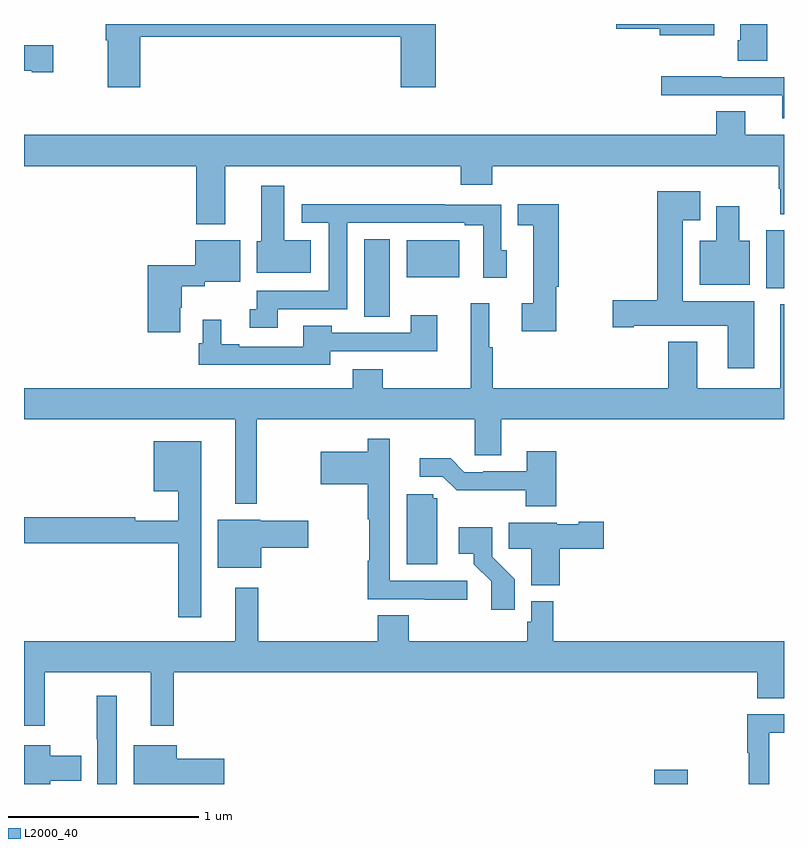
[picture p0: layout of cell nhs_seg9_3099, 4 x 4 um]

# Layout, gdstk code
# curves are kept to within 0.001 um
import gdstk
lib = gdstk.Library(unit=1e-6, precision=1e-09)
def R(c, l, rs):  # rectangles x0, y0, x1, y1
    for r in rs: c.add(gdstk.rectangle(r[:2], r[2:], *l))
def P(c, l, *ps):  # polygons
    for p in ps: c.add(gdstk.Polygon(p, *l))
L2000_40 = (2000, 40)

nhs_seg9_3099 = lib.new_cell('nhs_seg9_3099')
R(nhs_seg9_3099, L2000_40, [(292.316,1194.5,292.494,1194.574), (290.792,1196.959,290.926,1197.368), (292.907,1197.11,293,1197.415), (291.014,1197.167,291.292,1197.361)])
P(nhs_seg9_3099, L2000_40, [(289.613,1198.432),(290.984,1198.432),(290.984,1198.167),(291.167,1198.167),(291.167,1198.5),(289.43,1198.5),(289.43,1198.415),(289.442,1198.415),(289.442,1198.167),(289.613,1198.167)],
  [(292.912,1198.5),(292.769,1198.5),(292.769,1198.414),(292.757,1198.414),(292.757,1198.306),(292.912,1198.306)],
  [(292.633,1198.5),(292.116,1198.5),(292.116,1198.475),(292.346,1198.475),(292.346,1198.442),(292.633,1198.442)],
  [(289.153,1198.388),(289,1198.388),(289,1198.253),(289.04,1198.253),(289.04,1198.246),(289.153,1198.246)],
  [(293,1198.221),(292.673,1198.221),(292.673,1198.224),(292.353,1198.224),(292.353,1198.125),(292.991,1198.125),(292.991,1198.005),(293,1198.005)],
  [(290.059,1197.752),(291.299,1197.752),(291.299,1197.653),(291.464,1197.653),(291.464,1197.752),(292.972,1197.752),(292.972,1197.632),(292.979,1197.632),(292.979,1197.5),(293,1197.5),(293,1197.916),(292.795,1197.916),(292.795,1198.04),(292.643,1198.04),(292.643,1197.916),(289,1197.916),(289,1197.752),(289.907,1197.752),(289.907,1197.447),(290.059,1197.447)],
  [(290.509,1197.361),(290.371,1197.361),(290.371,1197.649),(290.249,1197.649),(290.249,1197.357),(290.225,1197.357),(290.225,1197.191),(290.509,1197.191)],
  [(292.843,1197.04),(292.468,1197.04),(292.468,1197.467),(292.558,1197.467),(292.558,1197.619),(292.334,1197.619),(292.334,1197.047),(292.098,1197.047),(292.098,1196.905),(292.21,1196.905),(292.21,1196.912),(292.703,1196.912),(292.703,1196.688),(292.843,1196.688)],
  [(290.335,1197),(290.7,1197),(290.7,1197.453),(291.32,1197.453),(291.32,1197.441),(291.417,1197.441),(291.417,1197.165),(291.541,1197.165),(291.541,1197.309),(291.513,1197.309),(291.513,1197.549),(291.215,1197.549),(291.215,1197.551),(290.463,1197.551),(290.463,1197.453),(290.604,1197.453),(290.604,1197.096),(290.226,1197.096),(290.226,1196.999),(290.187,1196.999),(290.187,1196.901),(290.335,1196.901)],
  [(291.802,1197.118),(291.815,1197.118),(291.815,1197.551),(291.598,1197.551),(291.598,1197.441),(291.68,1197.441),(291.68,1197.03),(291.621,1197.03),(291.621,1196.882),(291.802,1196.882)],
  [(292.819,1197.358),(292.765,1197.358),(292.765,1197.541),(292.643,1197.541),(292.643,1197.358),(292.556,1197.358),(292.556,1197.128),(292.819,1197.128)],
  [(289.822,1197.006),(289.83,1197.006),(289.83,1197.119),(289.95,1197.119),(289.95,1197.144),(290.137,1197.144),(290.137,1197.361),(289.901,1197.361),(289.901,1197.229),(289.652,1197.229),(289.652,1196.877),(289.822,1196.877)],
  [(290.225,1196.42),(291.372,1196.42),(291.372,1196.23),(291.511,1196.23),(291.511,1196.42),(293,1196.42),(293,1197.025),(292.979,1197.025),(292.979,1196.584),(292.543,1196.584),(292.543,1196.827),(292.391,1196.827),(292.391,1196.584),(291.467,1196.584),(291.467,1196.799),(291.448,1196.799),(291.448,1197.031),(291.35,1197.031),(291.35,1196.584),(290.889,1196.584),(290.889,1196.683),(290.729,1196.683),(290.729,1196.584),(289,1196.584),(289,1196.42),(290.111,1196.42),(290.111,1195.976),(290.225,1195.976)],
  [(290.611,1196.778),(291.175,1196.778),(291.175,1196.968),(291.035,1196.968),(291.035,1196.874),(290.619,1196.874),(290.619,1196.911),(290.471,1196.911),(290.471,1196.802),(290.134,1196.802),(290.134,1196.815),(290.038,1196.815),(290.038,1196.944),(289.941,1196.944),(289.941,1196.82),(289.921,1196.82),(289.921,1196.706),(290.611,1196.706)],
  [(291.334,1195.569),(290.925,1195.569),(290.925,1196.094),(290.926,1196.094),(290.926,1196.317),(290.809,1196.317),(290.809,1196.248),(290.562,1196.248),(290.562,1196.078),(290.809,1196.078),(290.809,1195.894),(290.817,1195.894),(290.817,1195.676),(290.809,1195.676),(290.809,1195.473),(291.109,1195.473),(291.109,1195.471),(291.334,1195.471)],
  [(289.933,1196.305),(289.682,1196.305),(289.682,1196.042),(289.812,1196.042),(289.812,1195.885),(289.586,1195.885),(289.586,1195.904),(289,1195.904),(289,1195.768),(289.812,1195.768),(289.812,1195.377),(289.933,1195.377)],
  [(291.8,1196.251),(291.647,1196.251),(291.647,1196.145),(291.418,1196.145),(291.418,1196.142),(291.318,1196.142),(291.245,1196.215),(291.084,1196.215),(291.084,1196.118),(291.204,1196.118),(291.277,1196.045),(291.64,1196.046),(291.64,1195.961),(291.8,1195.961)],
  [(291.175,1196.004),(291.153,1196.004),(291.153,1196.025),(291.014,1196.025),(291.014,1195.656),(291.175,1195.656)],
  [(290.248,1195.744),(290.497,1195.744),(290.497,1195.886),(290.244,1195.886),(290.244,1195.891),(290.021,1195.891),(290.021,1195.637),(290.248,1195.637)],
  [(291.821,1195.738),(292.051,1195.738),(292.051,1195.88),(291.921,1195.88),(291.921,1195.867),(291.804,1195.867),(291.804,1195.876),(291.55,1195.876),(291.55,1195.738),(291.671,1195.738),(291.671,1195.547),(291.821,1195.547)],
  [(291.584,1195.578),(291.465,1195.697),(291.465,1195.852),(291.288,1195.852),(291.288,1195.712),(291.368,1195.712),(291.368,1195.657),(291.459,1195.567),(291.459,1195.416),(291.584,1195.416)],
  [(292.859,1194.952),(293,1194.952),(293,1195.252),(291.785,1195.252),(291.785,1195.462),(291.669,1195.462),(291.669,1195.353),(291.649,1195.353),(291.649,1195.252),(291.026,1195.252),(291.026,1195.388),(290.861,1195.388),(290.861,1195.252),(290.233,1195.252),(290.233,1195.534),(290.111,1195.534),(290.111,1195.252),(289,1195.252),(289,1195.088),(289.001,1195.088),(289.001,1194.807),(289.108,1194.807),(289.108,1195.088),(289.667,1195.088),(289.667,1194.807),(289.789,1194.807),(289.789,1195.088),(292.859,1195.088)],
  [(289.489,1194.964),(289.383,1194.964),(289.383,1194.736),(289.385,1194.736),(289.385,1194.5),(289.489,1194.5)],
  [(292.923,1194.771),(293,1194.771),(293,1194.867),(292.807,1194.867),(292.807,1194.664),(292.815,1194.664),(292.815,1194.5),(292.923,1194.5)],
  [(290.053,1194.633),(289.804,1194.633),(289.804,1194.703),(289.577,1194.703),(289.577,1194.5),(290.053,1194.5)],
  [(289.138,1194.518),(289.3,1194.518),(289.3,1194.648),(289.138,1194.648),(289.138,1194.703),(289,1194.703),(289,1194.5),(289.138,1194.5)])

lib.write_gds('nhs_seg9_3099.gds')
